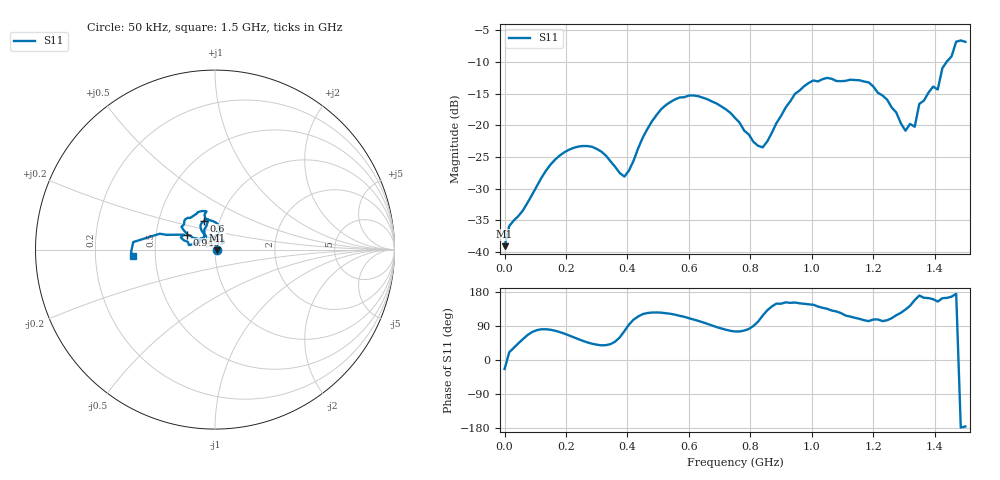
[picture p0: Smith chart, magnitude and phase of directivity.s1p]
! Created with skrf 1.8.0 (http://scikit-rf.org).
# Hz S RI R 50.0
!freq ReS11 ImS11
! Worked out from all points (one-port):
!   101 points, 50 kHz to 1.5 GHz, reference 50 ohm
!   lowest |S11| = -39.1 dB at 50 kHz (marker M1), VSWR 1.02, Z = 51 - j0.458 ohm
!   |S11| at or under -10 dB: start of sweep to 1.439 GHz
!   S11 on the Smith chart (normalised r, x): 50 kHz: 1.02, -0.01; 600 MHz: 0.84, +0.28; 945 MHz: 0.72, +0.12; 1.5 GHz: 0.37, -0.03
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50000  0.0102 -0.00449
1.50495e7  0.015 0.00558
1.350455e8  0.00681 0.0435
1.950435e8  0.0216 0.0575
2.850405e8  0.0496 0.046
3.750375e8  0.0212 0.0363
4.050365e8  -0.00275 0.044
4.950335e8  -0.0701 0.0987
5.70031e8  -0.0742 0.1484
6.0003e8  -0.0596 0.1613
6.90027e8  0.0079 0.1486
7.50025e8  0.0291 0.1108
8.40022e8  -0.0305 0.0597
9.450185e8  -0.1559 0.0838
1.005016e9  -0.187 0.127
1.125012e9  -0.0956 0.2084
1.18501e9  -0.0475 0.2132
1.245008e9  -0.0408 0.1544
1.305006e9  -0.0621 0.0662
1.320006e9  -0.0822 0.0614
1.335006e9  -0.0904 0.0364
1.350005e9  -0.1456 0.0253
1.395004e9  -0.1906 0.0678
1.410003e9  -0.1727 0.0833
1.425002e9  -0.2701 0.0823
1.455002e9  -0.3415 0.0778
1.470001e9  -0.4556 0.042
1.5e9  -0.4547 -0.0368
